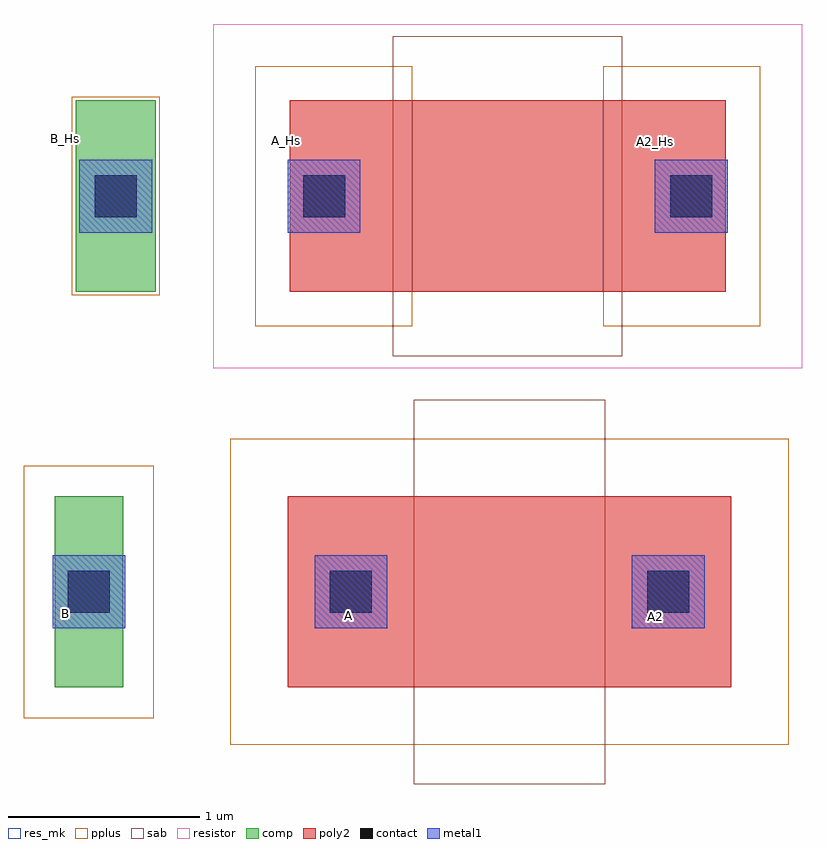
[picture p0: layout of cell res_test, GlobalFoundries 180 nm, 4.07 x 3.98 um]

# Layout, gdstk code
import gdstk
lib = gdstk.Library(unit=1e-6, precision=1e-09)
def R(c, l, rs):  # rectangles x0, y0, x1, y1
    for r in rs: c.add(gdstk.rectangle(r[:2], r[2:], *l))
comp = (22, 0)
poly2 = (30, 0)
pplus = (31, 0)
contact = (33, 0)
metal1 = (34, 0)
sab = (49, 0)
resistor = (62, 0)
res_mk = (110, 5)

ppolyf_u_high_rs_resisto = lib.new_cell('ppolyf_u_high_Rs_resistor$1')
R(ppolyf_u_high_rs_resisto, comp, [(-1.76,0,-1.34,1)])
R(ppolyf_u_high_rs_resisto, poly2, [(-0.64,0,1.64,1)])
R(ppolyf_u_high_rs_resisto, pplus, [(-0.82,-0.18,0,1.18), (1,-0.18,1.82,1.18), (-1.78,-0.02,-1.32,1.02)])
R(ppolyf_u_high_rs_resisto, contact, [(-1.66,0.39,-1.44,0.61), (-0.57,0.39,-0.35,0.61), (1.35,0.39,1.57,0.61)])
R(ppolyf_u_high_rs_resisto, metal1, [(-1.74,0.309,-1.36,0.691), (-0.65,0.309,-0.27,0.691), (1.27,0.309,1.65,0.691)])
R(ppolyf_u_high_rs_resisto, sab, [(-0.1,-0.339,1.1,1.337)])
R(ppolyf_u_high_rs_resisto, resistor, [(-1.04,-0.4,2.04,1.4)])
R(ppolyf_u_high_rs_resisto, res_mk, [(0,0,1,1)])

ppolyf_u_resistor_2 = lib.new_cell('ppolyf_u_resistor$2')
R(ppolyf_u_resistor_2, comp, [(-1.88,0,-1.52,1)])
R(ppolyf_u_resistor_2, poly2, [(-0.66,0,1.66,1)])
R(ppolyf_u_resistor_2, pplus, [(-0.96,-0.3,1.96,1.3), (-2.04,-0.16,-1.36,1.16)])
R(ppolyf_u_resistor_2, contact, [(-1.81,0.39,-1.59,0.61), (-0.44,0.39,-0.22,0.61), (1.22,0.39,1.44,0.61)])
R(ppolyf_u_resistor_2, metal1, [(-1.89,0.309,-1.51,0.691), (-0.52,0.309,-0.14,0.691), (1.14,0.309,1.52,0.691)])
R(ppolyf_u_resistor_2, sab, [(0,-0.505,1,1.505)])
R(ppolyf_u_resistor_2, res_mk, [(0,0,1,1)])

res_test = lib.new_cell('res_test')
res_test.add(gdstk.Reference(ppolyf_u_high_rs_resisto, (0,-0.29)))
res_test.add(gdstk.Reference(ppolyf_u_resistor_2, (0.01,-2.36)))
res_test.add(gdstk.Label('B_Hs', (-1.81,0.51), layer=34, texttype=10))
res_test.add(gdstk.Label('A_Hs', (-0.655,0.5), layer=34, texttype=10))
res_test.add(gdstk.Label('A2_Hs', (1.275,0.495), layer=34, texttype=10))
res_test.add(gdstk.Label('B', (-1.81,-1.975), layer=34, texttype=10))
res_test.add(gdstk.Label('A', (-0.33,-1.985), layer=34, texttype=10))
res_test.add(gdstk.Label('A2', (1.275,-1.99), layer=34, texttype=10))

lib.write_gds('res_test.gds')
